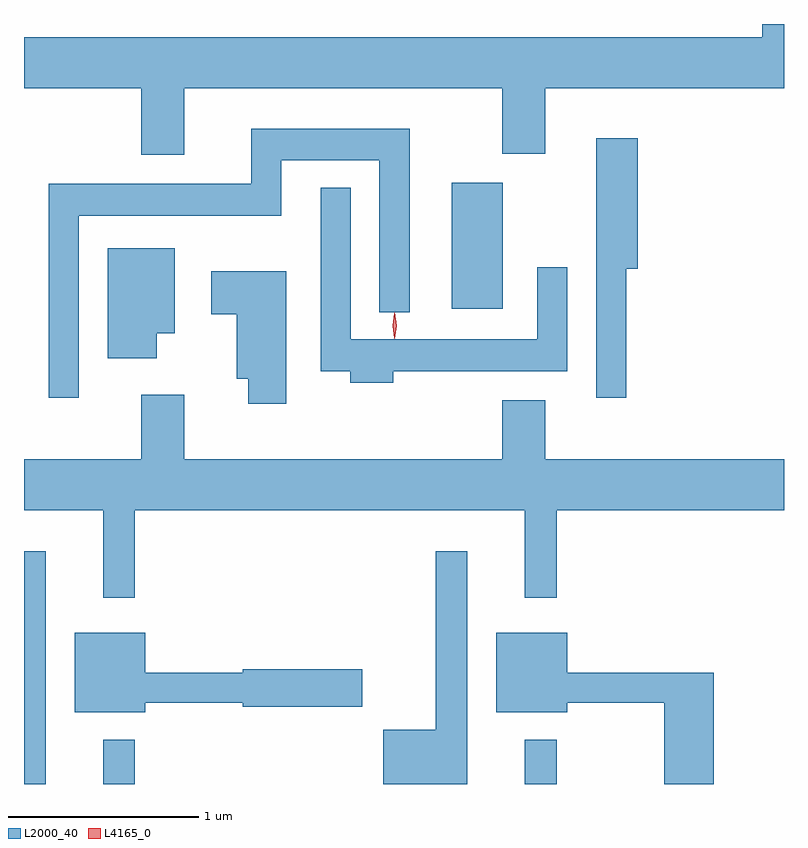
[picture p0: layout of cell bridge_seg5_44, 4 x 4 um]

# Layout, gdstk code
import gdstk
lib = gdstk.Library(unit=1e-6, precision=1e-09)
def R(c, l, rs):  # rectangles x0, y0, x1, y1
    for r in rs: c.add(gdstk.rectangle(r[:2], r[2:], *l))
def P(c, l, *ps):  # polygons
    for p in ps: c.add(gdstk.Polygon(p, *l))
L2000_40 = (2000, 40)
L4165_0 = (4165, 0)

bridge_seg5_44 = lib.new_cell('bridge_seg5_44')
R(bridge_seg5_44, L2000_40, [(1321.895,1462.014,1322.009,1463.238), (1322.311,1462.014,1322.479,1462.248), (1324.531,1462.014,1324.699,1462.248), (1324.146,1464.516,1324.414,1465.179)])
P(bridge_seg5_44, L2000_40, [(1322.739,1465.676),(1324.411,1465.676),(1324.411,1465.331),(1324.639,1465.331),(1324.639,1465.676),(1325.895,1465.676),(1325.895,1466.014),(1325.781,1466.014),(1325.781,1465.944),(1321.895,1465.944),(1321.895,1465.676),(1322.511,1465.676),(1322.511,1465.326),(1322.739,1465.326)],
  [(1322.184,1465.006),(1323.249,1465.006),(1323.249,1465.296),(1323.766,1465.296),(1323.766,1464.498),(1323.924,1464.498),(1323.924,1465.464),(1323.091,1465.464),(1323.091,1465.174),(1322.026,1465.174),(1322.026,1464.048),(1322.184,1464.048)],
  [(1325.064,1464.726),(1325.124,1464.726),(1325.124,1465.414),(1324.906,1465.414),(1324.906,1464.048),(1325.064,1464.048)],
  [(1323.839,1464.186),(1324.754,1464.186),(1324.754,1464.733),(1324.596,1464.733),(1324.596,1464.354),(1323.614,1464.354),(1323.614,1465.153),(1323.456,1465.153),(1323.456,1464.186),(1323.611,1464.186),(1323.611,1464.126),(1323.839,1464.126)],
  [(1322.594,1464.386),(1322.689,1464.386),(1322.689,1464.834),(1322.336,1464.834),(1322.336,1464.256),(1322.594,1464.256)],
  [(1323.274,1464.714),(1322.881,1464.714),(1322.881,1464.486),(1323.016,1464.486),(1323.016,1464.146),(1323.076,1464.146),(1323.076,1464.016),(1323.274,1464.016)],
  [(1322.479,1463.456),(1324.531,1463.456),(1324.531,1462.993),(1324.699,1462.993),(1324.699,1463.456),(1325.895,1463.456),(1325.895,1463.724),(1324.639,1463.724),(1324.639,1464.034),(1324.411,1464.034),(1324.411,1463.724),(1322.739,1463.724),(1322.739,1464.064),(1322.511,1464.064),(1322.511,1463.724),(1321.895,1463.724),(1321.895,1463.456),(1322.311,1463.456),(1322.311,1462.993),(1322.479,1462.993)],
  [(1324.229,1463.238),(1324.061,1463.238),(1324.061,1462.299),(1323.786,1462.299),(1323.786,1462.014),(1324.229,1462.014)],
  [(1325.524,1462.599),(1324.754,1462.599),(1324.754,1462.809),(1324.381,1462.809),(1324.381,1462.391),(1324.754,1462.391),(1324.754,1462.441),(1325.266,1462.441),(1325.266,1462.014),(1325.524,1462.014)],
  [(1322.534,1462.441),(1323.046,1462.441),(1323.046,1462.421),(1323.674,1462.421),(1323.674,1462.619),(1323.046,1462.619),(1323.046,1462.599),(1322.534,1462.599),(1322.534,1462.809),(1322.161,1462.809),(1322.161,1462.391),(1322.534,1462.391)])
P(bridge_seg5_44, L4165_0, [(1323.846,1464.357),(1323.845,1464.358),(1323.836,1464.427),(1323.845,1464.496),(1323.846,1464.496),(1323.846,1464.496),(1323.856,1464.427),(1323.846,1464.358)],
  [(1323.844,1464.359),(1323.844,1464.36),(1323.835,1464.426),(1323.844,1464.492),(1323.845,1464.493),(1323.845,1464.492),(1323.854,1464.426),(1323.845,1464.36)])

lib.write_gds('bridge_seg5_44.gds')
